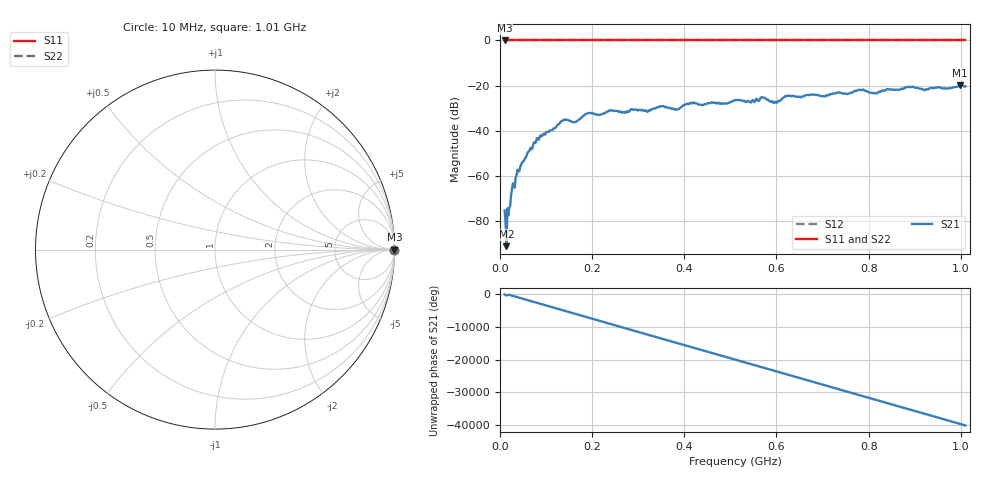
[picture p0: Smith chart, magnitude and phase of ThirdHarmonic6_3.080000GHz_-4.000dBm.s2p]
! 8/17/2025 9:01:37 AM
! C:\ANRITSUVNA\TEMP\TEMP.S2P
! CHANNEL.1
! TR.MEASUREMENT
! RAW.DATA
! RF.CORRECTION.OFF
! AVERAGING.OFF
! IF.BANDWIDTH: 5KHZ
! SWEEPTYPE:  FREQ.SWEEP(Linear)
! Reference Plane Port Info
! PORT:  PORT1  PORT2
! DISTANCE:  0  m  0  m
! TIME:  0  s  0  s
! PHASE.OFFSET:  0  deg.  0  deg.
! LOSS:  0  dB  0  dB
! REF.LOSS:  0  dB  0  dB
! REF.FREQ:  0  Hz  0  Hz
! Power Info
! POWER:  -20  dBm  -20  dBm
! EFF.POWER:  -20  dBm  -20  dBm
! SOURCE.ATTEN:  0  dB  0  dB
! TEST.ATTEN:  0  dB  0  dB
# GHZ S RI R 50.0
! FREQ.GHZ  S11RE  S11IM  S21RE  S21IM  S12RE  S12IM  S22RE  S22IM
!; PortSelection: Port_12
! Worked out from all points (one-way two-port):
!   501 points, 10 MHz to 1.01 GHz, reference 50 ohm
!   highest |S21| = -19.85 dB at 998 MHz (marker M1); lowest = -91.2 dB at 14 MHz (marker M2)
!   lowest |S11| = 0.0 dB at 10 MHz (marker M3)
!   |S11| at or under -10 dB: nowhere
!   |S22| runs from 0.0 to 0.0 dB; largest |S21 - S12| = 1.1
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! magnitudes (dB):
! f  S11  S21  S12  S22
! 10 MHz  0.0  -75.3  0.0  0.0
! 14 MHz  0.0  -91.2  0.0  0.0
! 18 MHz  0.0  -77.5  0.0  0.0
! 26 MHz  0.0  -65.8  0.0  0.0
! 38 MHz  0.0  -57.3  0.0  0.0
! 78 MHz  0.0  -45.0  0.0  0.0
! 136 MHz  0.0  -35.6  0.0  0.0
! 162 MHz  0.0  -36.2  0.0  0.0
! 178 MHz  0.0  -33.9  0.0  0.0
! 194 MHz  0.0  -32.1  0.0  0.0
! 322 MHz  0.0  -31.3  0.0  0.0
! 344 MHz  0.0  -29.6  0.0  0.0
! 384 MHz  0.0  -30.5  0.0  0.0
! 416 MHz  0.0  -27.9  0.0  0.0
! 510 MHz  0.0  -26.5  0.0  0.0
! 570 MHz  0.0  -25.2  0.0  0.0
! 596 MHz  0.0  -27.2  0.0  0.0
! 622 MHz  0.0  -24.6  0.0  0.0
! 678 MHz  0.0  -24.0  0.0  0.0
! 844 MHz  0.0  -21.7  0.0  0.0
! 998 MHz  0.0  -19.8  0.0  0.0
! 1.01 GHz  0.0  -20.4  0.0  0.0
